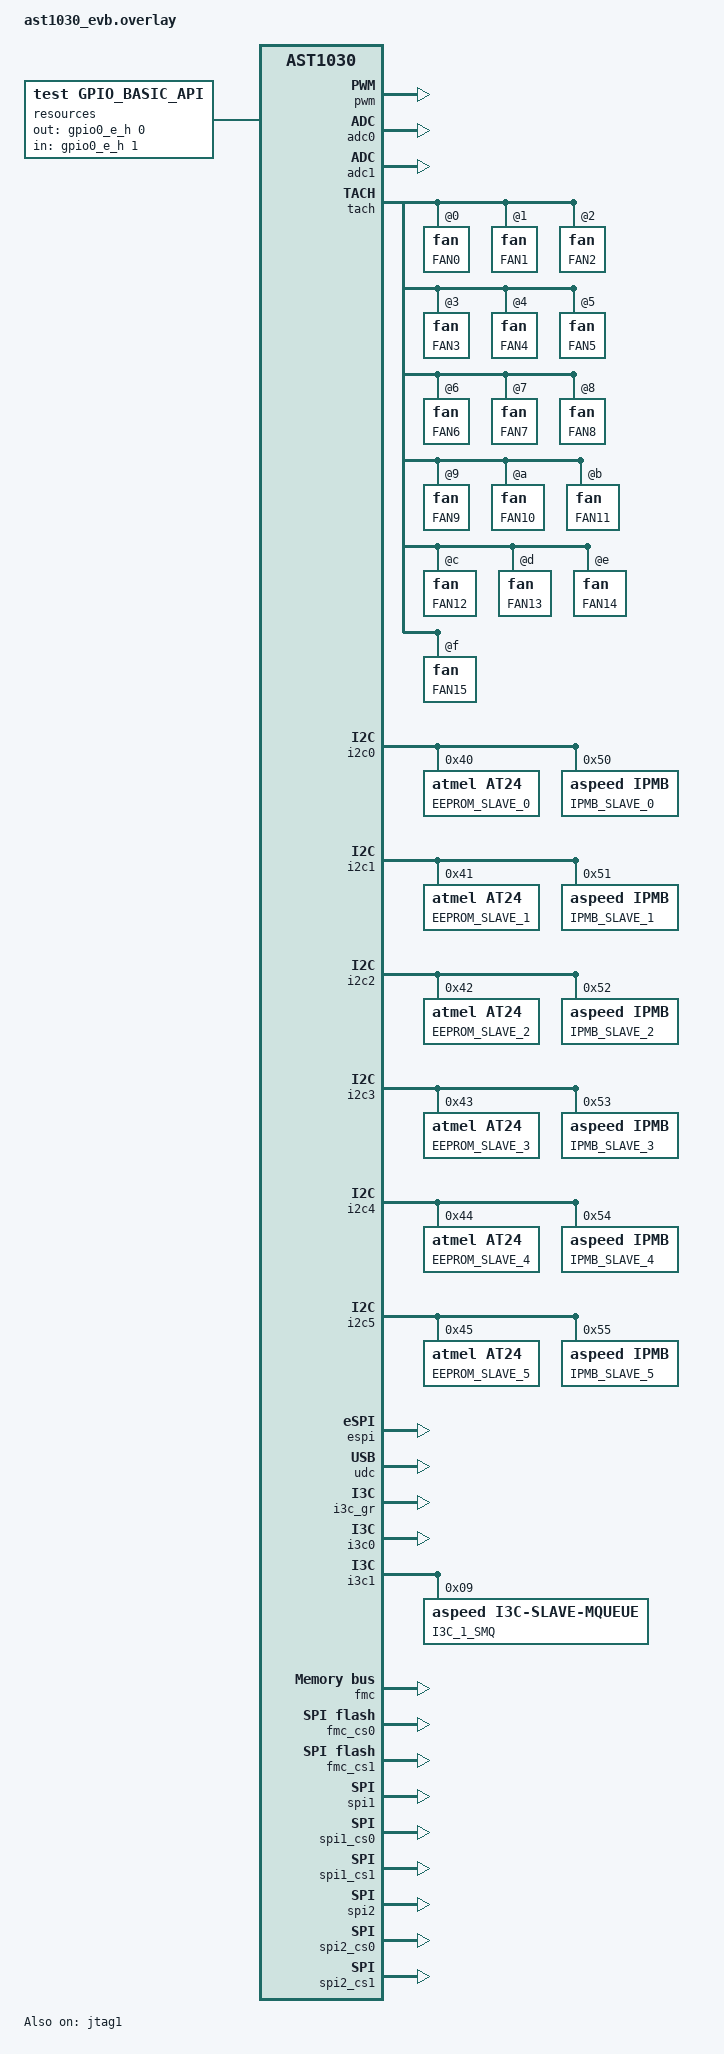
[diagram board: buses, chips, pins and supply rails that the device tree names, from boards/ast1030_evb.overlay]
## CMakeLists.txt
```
# SPDX-License-Identifier: Apache-2.0

cmake_minimum_required(VERSION 3.13.1)
find_package(Zephyr REQUIRED HINTS $ENV{ZEPHYR_BASE})
project(ast1030_evb_test)

FILE(GLOB app_sources src/*.c src/test_gpio/test*.c)
target_sources(app PRIVATE ${app_sources})
```

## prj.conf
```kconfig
CONFIG_GPIO=y
CONFIG_SPI=y
CONFIG_I2C=y
CONFIG_I3C=y
CONFIG_THREAD_RUNTIME_STATS=y
CONFIG_GPIO_SHELL=y
CONFIG_I2C_SLAVE=y
CONFIG_I2C_EEPROM_SLAVE=y
CONFIG_I2C_IPMB_SLAVE=y
CONFIG_HEAP_MEM_POOL_SIZE=65536
CONFIG_PWM=y
CONFIG_ADC=y
CONFIG_JTAG=y
CONFIG_FLASH=y
CONFIG_SPI_NOR_MULTI_DEV=y
CONFIG_SENSOR=y
CONFIG_USB=y
CONFIG_HWINFO=y
CONFIG_ESPI=y
CONFIG_PECI=y
CONFIG_MINIMAL_LIBC_MALLOC_ARENA_SIZE=16384
CONFIG_REBOOT=y
CONFIG_POSIX_CLOCK=y
CONFIG_STACK_SENTINEL=y
CONFIG_LOG=y
CONFIG_LOG_BACKEND_UART=y
CONFIG_SHELL=y
CONFIG_SHELL_BACKEND_SERIAL_INIT_PRIORITY=99
CONFIG_ZTEST=y
CONFIG_THREAD_ANALYZER=y
CONFIG_CRYPTO=y
CONFIG_CRYPTO_ASPEED=y
CONFIG_RSA_ASPEED=y
```

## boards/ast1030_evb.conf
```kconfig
CONFIG_GPIO_ASPEED=y
CONFIG_SPI_ASPEED=y
CONFIG_I2C_ASPEED=y
CONFIG_PWM_ASPEED=y
CONFIG_PWM_ASPEED_ACCURATE_FREQ=y
CONFIG_TEST_RANDOM_GENERATOR=y
CONFIG_ADC_ASPEED=y
CONFIG_JTAG_ASPEED=y
CONFIG_TACH_ASPEED=y
CONFIG_ESPI_ASPEED=y
CONFIG_PECI_ASPEED=y
CONFIG_PECI_ASPEED_INTERRUPT_DRIVEN=y
CONFIG_I3C_ASPEED=y
CONFIG_I3C_SLAVE=y
CONFIG_I3C_SLAVE_MQUEUE=y
CONFIG_USB_ASPEED=y
CONFIG_USB_CDC_ACM=y
CONFIG_USB_DEVICE_VID=0x4153
CONFIG_USB_DEVICE_PID=0x1030
```

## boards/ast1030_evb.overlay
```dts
/ {
	resources {
		compatible = "test,gpio_basic_api";
		out-gpios = <&gpio0_e_h 0 0>;
		in-gpios = <&gpio0_e_h 1 0>;
	};
};

&pwm {
	status = "okay";
	pinctrl-0 = <&pinctrl_pwm0_default &pinctrl_pwm1_default
			&pinctrl_pwm2_default &pinctrl_pwm3_default
			&pinctrl_pwm4_default &pinctrl_pwm5_default
			&pinctrl_pwm6_default &pinctrl_pwm7_default
			&pinctrl_pwm8_default &pinctrl_pwm9_default
			&pinctrl_pwm10_default &pinctrl_pwm11_default
			&pinctrl_pwm12_default &pinctrl_pwm13_default
			&pinctrl_pwm14_default &pinctrl_pwm15_default>;

};

&adc0 {
	status = "okay";
	pinctrl-0 = <&pinctrl_adc0_default &pinctrl_adc1_default
		&pinctrl_adc2_default &pinctrl_adc3_default
		&pinctrl_adc4_default &pinctrl_adc5_default
		&pinctrl_adc6_default &pinctrl_adc7_default>;
};

&adc1 {
	status = "okay";
	pinctrl-0 = <&pinctrl_adc8_default &pinctrl_adc9_default
		&pinctrl_adc10_default &pinctrl_adc11_default
		&pinctrl_adc12_default &pinctrl_adc13_default
		&pinctrl_adc14_default &pinctrl_adc15_default>;
};

&jtag1{
	status = "okay";
};

&tach {
	status = "okay";
	pinctrl-0 = <&pinctrl_tach0_default &pinctrl_tach1_default
			&pinctrl_tach2_default &pinctrl_tach3_default
			&pinctrl_tach4_default &pinctrl_tach5_default
			&pinctrl_tach6_default &pinctrl_tach7_default
			&pinctrl_tach8_default &pinctrl_tach9_default
			&pinctrl_tach10_default &pinctrl_tach11_default
			&pinctrl_tach12_default &pinctrl_tach13_default
			&pinctrl_tach14_default &pinctrl_tach15_default>;
	fan@0 {
		reg = <0>;
		pulse-pr = <1>;
		min-rpm = <1000>;
		tach-div = <2>;
		label = "FAN0";
	};

	fan@1 {
		reg = <1>;
		pulse-pr = <1>;
		min-rpm = <1000>;
		tach-div = <2>;
		label = "FAN1";
	};

	fan@2 {
		reg = <2>;
		pulse-pr = <1>;
		min-rpm = <1000>;
		tach-div = <2>;
		label = "FAN2";
	};

	fan@3 {
		reg = <3>;
		pulse-pr = <1>;
		min-rpm = <1000>;
		tach-div = <2>;
		label = "FAN3";
	};

	fan@4 {
		reg = <4>;
		pulse-pr = <1>;
		min-rpm = <1000>;
		tach-div = <2>;
		label = "FAN4";
	};

	fan@5 {
		reg = <5>;
		pulse-pr = <1>;
		min-rpm = <1000>;
		tach-div = <2>;
		label = "FAN5";
	};

	fan@6 {
		reg = <6>;
		pulse-pr = <1>;
		min-rpm = <1000>;
		tach-div = <2>;
		label = "FAN6";
	};

	fan@7 {
		reg = <7>;
		pulse-pr = <1>;
		min-rpm = <1000>;
		tach-div = <2>;
		label = "FAN7";
	};

	fan@8 {
		reg = <8>;
		pulse-pr = <1>;
		min-rpm = <1000>;
		tach-div = <2>;
		label = "FAN8";
	};

	fan@9 {
		reg = <9>;
		pulse-pr = <1>;
		min-rpm = <1000>;
		tach-div = <2>;
		label = "FAN9";
	};

	fan@a {
		reg = <0xa>;
		pulse-pr = <1>;
		min-rpm = <1000>;
		tach-div = <2>;
		label = "FAN10";
	};

	fan@b {
		reg = <0xb>;
		pulse-pr = <1>;
		min-rpm = <1000>;
		tach-div = <2>;
		label = "FAN11";
	};

	fan@c {
		reg = <0xc>;
		pulse-pr = <1>;
		min-rpm = <1000>;
		tach-div = <2>;
		label = "FAN12";
	};

	fan@d {
		reg = <0xd>;
		pulse-pr = <1>;
		min-rpm = <1000>;
		tach-div = <2>;
		label = "FAN13";
	};

	fan@e {
		reg = <0xe>;
		pulse-pr = <1>;
		min-rpm = <1000>;
		tach-div = <2>;
		label = "FAN14";
	};

	fan@f {
		reg = <0xf>;
		pulse-pr = <2>;
		min-rpm = <700>;
		tach-div = <5>;
		label = "FAN15";
	};
};

&i2c0 {
	status = "okay";
	pinctrl-0 = <&pinctrl_i2c0_default>;

	eeprom0: eeprom0@40 {
		compatible = "atmel,at24";
		reg = <0x40>;
		label = "EEPROM_SLAVE_0";
		size = <256>;
		pagesize = <16>;
		address-width = <8>;
		timeout = <5>;
#ifdef CONFIG_I2C_EEPROM_SLAVE
		status = "okay";
#endif
	};

	ipmb0: ipmb0@50 {
		compatible = "aspeed,ipmb";
		reg = <0x50>;
		label = "IPMB_SLAVE_0";
		size = <5>;
#ifdef CONFIG_I2C_IPMB_SLAVE
		status = "okay";
#endif
	};

};

&i2c1 {
	pinctrl-0 = <&pinctrl_i2c1_default>;
	status = "okay";

	eeprom1: eeprom1@41 {
		compatible = "atmel,at24";
		reg = <0x41>;
		label = "EEPROM_SLAVE_1";
		size = <256>;
		pagesize = <16>;
		address-width = <8>;
		timeout = <5>;
#ifdef CONFIG_I2C_EEPROM_SLAVE
		status = "okay";
#endif
	};

	ipmb1: ipmb1@51 {
		compatible = "aspeed,ipmb";
		reg = <0x51>;
		label = "IPMB_SLAVE_1";
		size = <5>;
#ifdef CONFIG_I2C_IPMB_SLAVE
		status = "okay";
#endif
	};

};

&i2c2 {
	pinctrl-0 = <&pinctrl_i2c2_default>;
	status = "okay";

	eeprom2: eeprom2@42 {
		compatible = "atmel,at24";
		reg = <0x42>;
		label = "EEPROM_SLAVE_2";
		size = <256>;
		pagesize = <16>;
		address-width = <8>;
		timeout = <5>;
#ifdef CONFIG_I2C_EEPROM_SLAVE
		status = "okay";
#endif
	};

	ipmb2: ipmb2@52 {
		compatible = "aspeed,ipmb";
		reg = <0x52>;
		label = "IPMB_SLAVE_2";
		size = <5>;
#ifdef CONFIG_I2C_IPMB_SLAVE
		status = "okay";
#endif
	};

};

&i2c3 {
	pinctrl-0 = <&pinctrl_i2c3_default>;
	status = "okay";

	eeprom3: eeprom3@43 {
		compatible = "atmel,at24";
		reg = <0x43>;
		label = "EEPROM_SLAVE_3";
		size = <256>;
		pagesize = <16>;
		address-width = <8>;
		timeout = <5>;
#ifdef CONFIG_I2C_EEPROM_SLAVE
		status = "okay";
#endif
	};

	ipmb3: ipmb3@53 {
		compatible = "aspeed,ipmb";
		reg = <0x53>;
		label = "IPMB_SLAVE_3";
		size = <5>;
#ifdef CONFIG_I2C_IPMB_SLAVE
		status = "okay";
#endif
	};

};

&i2c4 {
	pinctrl-0 = <&pinctrl_i2c4_default>;
	status = "okay";

	eeprom4: eeprom4@44 {
		compatible = "atmel,at24";
		reg = <0x44>;
		label = "EEPROM_SLAVE_4";
		size = <256>;
		pagesize = <16>;
		address-width = <8>;
		timeout = <5>;
#ifdef CONFIG_I2C_EEPROM_SLAVE
		status = "okay";
#endif
	};

	ipmb4: ipmb4@54 {
		compatible = "aspeed,ipmb";
		reg = <0x54>;
		label = "IPMB_SLAVE_4";
		size = <5>;
#ifdef CONFIG_I2C_IPMB_SLAVE
		status = "okay";
#endif
	};

};

&i2c5 {
	pinctrl-0 = <&pinctrl_i2c5_default>;
	status = "okay";

	eeprom5: eeprom5@45 {
		compatible = "atmel,at24";
		reg = <0x45>;
		label = "EEPROM_SLAVE_5";
		size = <256>;
		pagesize = <16>;
		address-width = <8>;
		timeout = <5>;
#ifdef CONFIG_I2C_EEPROM_SLAVE
		status = "okay";
#endif
	};

	ipmb5: ipmb5@55 {
		compatible = "aspeed,ipmb";
		reg = <0x55>;
		label = "IPMB_SLAVE_5";
		size = <5>;
#ifdef CONFIG_I2C_IPMB_SLAVE
		status = "okay";
#endif
	};

};

&espi {
	status = "okay";
	perif,memcyc-src-addr = <0x98000000>;
	perif,memcyc-size = <0x10000>;
	flash,safs-mode = <0x2>;
};

&udc {
	status = "okay";
};

&i3c_gr {
	status = "okay";
};

&i3c0 {
	status = "okay";
	assigned-address = <0x8>;
};

&i3c1 {
	status = "okay";
	assigned-address = <0x9>;
	secondary;
	i3c1_smq:i3c-slave-mqueue@9 {
		compatible = "aspeed,i3c-slave-mqueue";
		reg = <0x9>;
		msg-size = <256>;
		num-of-msgs = <4>;
		mandatory-data-byte = <0xbf>;
		label = "I3C_1_SMQ";
		status = "okay";
	};
};

&fmc {
	status = "okay";
};

&fmc_cs0 {
	status = "okay";
	spi-max-buswidth = <4>;
	spi-max-frequency = <50000000>;
};

&fmc_cs1 {
	status = "okay";
	spi-max-buswidth = <4>;
	spi-max-frequency = <50000000>;
};

&spi1 {
	status = "okay";
};

&spi1_cs0 {
	status = "okay";
	spi-max-buswidth = <4>;
	spi-max-frequency = <50000000>;
};

&spi1_cs1 {
	status = "okay";
	spi-max-buswidth = <4>;
	spi-max-frequency = <50000000>;
};

&spi2 {
	status = "okay";
};

&spi2_cs0 {
	status = "okay";
	spi-max-buswidth = <4>;
	spi-max-frequency = <50000000>;
};

&spi2_cs1 {
	status = "okay";
	spi-max-buswidth = <4>;
	spi-max-frequency = <50000000>;
};
```

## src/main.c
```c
/*
 * Copyright (c) 2021 Aspeed Technology Inc.
 *
 * SPDX-License-Identifier: Apache-2.0
 */

#include <ztest.h>
#include <debug/thread_analyzer.h>
#include "ast_test.h"

#define LOG_MODULE_NAME aspeed_test

#include <logging/log.h>
LOG_MODULE_REGISTER(LOG_MODULE_NAME);

extern void test_usb(void);
extern void test_adc(void);
extern void test_adc(void);
extern void test_pwm(void);
extern void test_jtag(void);
extern void test_i2c(void);
extern void test_i3c(void);
extern void test_gpio(void);
extern void test_uart(void);
extern void test_spi(void);
extern void test_espi(void);
extern void test_peci(void);
extern void test_crypto(void);
extern int aspeed_ft_pre_init(void);
extern int aspeed_ft_post_init(struct aspeed_tests *testcase, int count);

#define run_test_suite(suite, type) \
	aspeed_run_test_suite(#suite, _##suite, type)

#define TEST_MODULE_CNT		12
#define TEST_STACKSIZE		1024

#define TEST_CI_TIMEOUT		30
#define TEST_SLT_TIMEOUT	20
#define TEST_FT_TIMEOUT		5

#define TEST_CI_FUNC_COUNT	100
#define TEST_SLT_FUNC_COUNT	1
#define TEST_FT_FUNC_COUNT	1

K_THREAD_STACK_ARRAY_DEFINE(test_thread_stack, TEST_MODULE_CNT, TEST_STACKSIZE);

static struct aspeed_test_param test_params[] = {
	{ AST_TEST_CI, "AST_TEST_CI", TEST_CI_FUNC_COUNT, TEST_CI_TIMEOUT },
	{ AST_TEST_SLT, "AST_TEST_SLT", TEST_SLT_FUNC_COUNT, TEST_SLT_TIMEOUT },
	{ AST_TEST_FT, "AST_TEST_FT", TEST_FT_FUNC_COUNT, TEST_FT_TIMEOUT },
};

typedef int (*test_func_t) (int count, enum aspeed_test_type);

static struct aspeed_tests aspeed_testcase[TEST_MODULE_CNT];
static struct k_thread ztest_thread[TEST_MODULE_CNT];
static int unit_test_count;
static int unit_test_remain;

static void aspeed_pre_init(void)
{
#if CONFIG_BOARD_AST1030_FT
	aspeed_ft_pre_init();
#endif
}

static void aspeed_post_init(void)
{
#if CONFIG_BOARD_AST1030_FT
	aspeed_ft_post_init(aspeed_testcase, TEST_MODULE_CNT);
#endif
}

static void aspeed_test_cb(void *a, void *b, void *c)
{
	int num = (int)a;
	int count = (int)b;
	enum aspeed_test_type type = (enum aspeed_test_type)c;
	int ret = TC_FAIL;

	TC_START(aspeed_testcase[num].name);

	LOG_DBG("Current thread id: %d", (int)k_current_get());
	ret = aspeed_testcase[num].test(count, type);
	aspeed_testcase[num].results = ret;

	unit_test_remain--;
	Z_TC_END_RESULT(ret, aspeed_testcase[num].name);
}

static int aspeed_create_test(struct unit_test *test, int thread_num,
			      int count, enum aspeed_test_type type)
{
	int ret = TC_PASS;
	k_tid_t pid;

	if (IS_ENABLED(CONFIG_MULTITHREADING)) {
		pid = k_thread_create(&ztest_thread[thread_num],
				      test_thread_stack[thread_num],
				      TEST_STACKSIZE,
				      (k_thread_entry_t) aspeed_test_cb,
				      (void *)thread_num,
				      (void *)count, (void *)type,
				      CONFIG_ZTEST_THREAD_PRIORITY,
				      test->thread_options | K_INHERIT_PERMS,
				      K_FOREVER);

		if (test->name != NULL) {
			k_thread_name_set(&ztest_thread[thread_num],
					  test->name);
		}

	} else {
		LOG_ERR("multithreading is not supported");
		ret = TC_FAIL;
	}

	aspeed_testcase[thread_num].name = test->name;
	aspeed_testcase[thread_num].test = (test_func_t) test->test;
	aspeed_testcase[thread_num].results = -1;

	LOG_INF("Create thread %s\t to num %d, pid: %d",
			test->name, thread_num, (int)pid);

	return ret;
}

static void aspeed_run_test(void)
{
	int i;

	for (i = 0; i < unit_test_count; i++) {
		k_thread_start(&ztest_thread[i]);
	}
}

static void aspeed_show_banner(bool is_passed)
{
	if (is_passed) {
		LOG_ERR("\x1b[;32;1m\n"
				"########     ###     ######   ######  ######## ########\n"
				"##     ##   ## ##   ##    ## ##    ## ##       ##     ##\n"
				"##     ##  ##   ##  ##       ##       ##       ##     ##\n"
				"########  ##     ##  ######   ######  ######   ##     ##\n"
				"##        #########       ##       ## ##       ##     ##\n"
				"##        ##     ## ##    ## ##    ## ##       ##     ##\n"
				"##        ##     ##  ######   ######  ######## ########\n"
				"\x1b[0;m\n"
		      );
	} else {
		LOG_ERR("\x1b[;31;1m\n"
				"########    ###    #### ##       ######## ########\n"
				"##         ## ##    ##  ##       ##       ##     ##\n"
				"##        ##   ##   ##  ##       ##       ##     ##\n"
				"######   ##     ##  ##  ##       ######   ##     ##\n"
				"##       #########  ##  ##       ##       ##     ##\n"
				"##       ##     ##  ##  ##       ##       ##     ##\n"
				"##       ##     ## #### ######## ######## ########\n"
				"\x1b[0;m\n"
		      );
	}
}

static void aspeed_terminate_test(int type)
{
	bool is_passed = true;
	int i;

	LOG_INF("\nTest Counter: %d. Test Type: %s.",
		test_params[type].test_count,
		test_params[type].name);

	for (i = 0; i < unit_test_count; i++) {
		k_thread_abort(&ztest_thread[i]);
		if (aspeed_testcase[i].results)
			is_passed = false;

		LOG_INF("Case %d - %s results: %s", i + 1,
			aspeed_testcase[i].name,
			aspeed_testcase[i].results ? "FAILED" : "PASSED");
	}

	aspeed_show_banner(is_passed);
	zassert_equal(is_passed, true, "%s FAILED");
}

static void aspeed_run_test_suite(const char *name, struct unit_test *suite,
				  int type)
{
	int timer = 0;
	int fail = 0;

	aspeed_pre_init();

	while (suite->test) {
		fail += aspeed_create_test(suite, unit_test_count++,
				    test_params[type].test_count, type);
		suite++;
		if (unit_test_count >= TEST_MODULE_CNT) {
			LOG_ERR("unit test numbers are limited to %d\n",
					unit_test_count);
			break;
		}
	}

	if (fail)
		goto end;

	unit_test_remain = unit_test_count;
	thread_analyzer_print();

	aspeed_run_test();

	while (unit_test_remain && (timer < test_params[type].timeout)) {
		timer++;
		k_sleep(K_SECONDS(1));
	}

	if (unit_test_remain) {
		LOG_ERR("TIMEOUT ! Total test case: %d, remaining: %d",
			unit_test_count, unit_test_remain);
		fail++;
	}

end:
	aspeed_post_init();
	aspeed_terminate_test(type);
	zassert_equal(fail, 0, "test ast1030 failed");
}

static void aspeed_test_platform(void)
{
	ztest_test_suite(test_ast1030,
			 ztest_unit_test(test_usb),
			 ztest_unit_test(test_adc),
			 ztest_unit_test(test_pwm),
			 ztest_unit_test(test_jtag),
			 ztest_unit_test(test_i2c),
			 ztest_unit_test(test_i3c),
			 ztest_unit_test(test_gpio),
			 ztest_unit_test(test_uart),
			 ztest_unit_test(test_spi),
			 ztest_unit_test(test_espi),
			 ztest_unit_test(test_peci),
			 ztest_unit_test(test_crypto)
			 );

#ifdef CONFIG_BOARD_AST1030_EVB
	run_test_suite(test_ast1030, AST_TEST_CI);
#elif CONFIG_BOARD_AST1030_SLT
	run_test_suite(test_ast1030, AST_TEST_SLT);
#elif CONFIG_BOARD_AST1030_FT
	run_test_suite(test_ast1030, AST_TEST_FT);
#endif
}

/* test case main entry */
void test_main(void)
{
	ztest_test_suite(platform_test,
			 ztest_unit_test(aspeed_test_platform));

	ztest_run_test_suite(platform_test);
}
```

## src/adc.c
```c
/*
 * Copyright (c) 2021 Aspeed Technology Inc.
 *
 * SPDX-License-Identifier: Apache-2.0
 */
#include <ztest.h>
#include <tc_util.h>
#include <drivers/adc.h>
#include "ast_test.h"

#define LOG_MODULE_NAME adc_test

#include <logging/log.h>
LOG_MODULE_REGISTER(LOG_MODULE_NAME);

#if DT_HAS_COMPAT_STATUS_OKAY(aspeed_adc)
#define ASPEED_ADC_CH_NUMBER 8
#define DT_DRV_COMPAT aspeed_adc
#else
#error No known devicetree compatible match for ADC test
#endif

#define NODE_LABELS(n) DT_INST_LABEL(n),
#define ADC_HDL_LIST_ENTRY(label)      \
	{			       \
		.device_label = label, \
	}
#define INIT_MACRO() DT_INST_FOREACH_STATUS_OKAY(NODE_LABELS) "NA"
static struct adc_hdl {
	char *device_label;
	struct adc_channel_cfg channel_config[ASPEED_ADC_CH_NUMBER];
} adc_list[] = {
	FOR_EACH(ADC_HDL_LIST_ENTRY, (,), INIT_MACRO())
};

#define ERROR_RATE(percentage) (100 / percentage)
#define TOLERANCE_ERROR_RATE ERROR_RATE(2)

void test_adc_normal_mode(const uint16_t *golden_value, float tolerance)
{
	int i, j;
	int retval;
	uint16_t m_sample_buffer[ASPEED_ADC_CH_NUMBER];
	int32_t val;
	const struct device *adc_dev;
	const struct adc_sequence sequence = {
		.channels = GENMASK(6, 0),
		.buffer = m_sample_buffer,
		.buffer_size = sizeof(m_sample_buffer),
		.resolution = 10,
		.calibrate = 1,
	};

	for (i = 0; i < ARRAY_SIZE(adc_list) - 1; i++) {
		adc_dev = device_get_binding(adc_list[i].device_label);
		for (j = 0; j < ASPEED_ADC_CH_NUMBER; j++) {
			adc_list[i].channel_config[j].channel_id = j;
			adc_list[i].channel_config[j].reference = ADC_REF_INTERNAL;
			adc_list[i].channel_config[j].gain = ADC_GAIN_1;
			adc_list[i].channel_config[j].acquisition_time = ADC_ACQ_TIME_DEFAULT;
			adc_channel_setup(adc_dev, &adc_list[i].channel_config[j]);
		}
		retval = adc_read(adc_dev, &sequence);
		if (retval >= 0) {
			for (j = 0; j < 7; j++) {
				val = m_sample_buffer[j];
				adc_raw_to_millivolts(adc_get_ref(adc_dev),
						      adc_list[i].channel_config[j].gain,
						      10,
						      &val);
				LOG_DBG("%s:[%d] %dmv(raw:%d)", adc_list[i].device_label, j, val,
					m_sample_buffer[j]);
				ast_zassert_within(val, golden_value[i * ASPEED_ADC_CH_NUMBER + j],
						   adc_get_ref(adc_dev) * tolerance,
						   "%s:[%d] %dmv(raw:%d) check %d+-%f failed!!",
						   adc_list[i].device_label, j, val,
						   m_sample_buffer[j],
						   golden_value[i * ASPEED_ADC_CH_NUMBER + j],
						   adc_get_ref(adc_dev) * tolerance);
			}
		}
	}
}

void test_adc_battery_mode(const uint16_t *golden_value, float tolerance)
{
	int i;
	int retval;
	uint16_t m_sample_buffer[1];
	int32_t val;
	const struct device *adc_dev;
	const struct adc_sequence sequence = {
		.channels = BIT(7),
		.buffer = m_sample_buffer,
		.buffer_size = sizeof(m_sample_buffer),
		.resolution = 10,
		.calibrate = 1,
	};

	for (i = 0; i < ARRAY_SIZE(adc_list) - 1; i++) {
		adc_dev = device_get_binding(adc_list[i].device_label);
		adc_list[i].channel_config[7].channel_id = 7;
		adc_list[i].channel_config[7].reference = ADC_REF_INTERNAL;
		adc_list[i].channel_config[7].gain =
			(adc_get_ref(adc_dev) < 1550) ? ADC_GAIN_1_3 : ADC_GAIN_2_3;
		adc_list[i].channel_config[7].acquisition_time = ADC_ACQ_TIME_DEFAULT;
		adc_channel_setup(adc_dev, &adc_list[i].channel_config[7]);
		retval = adc_read(adc_dev, &sequence);
		if (retval >= 0) {
			val = m_sample_buffer[0];
			adc_raw_to_millivolts(adc_get_ref(adc_dev),
					      adc_list[i].channel_config[7].gain, 10, &val);
			LOG_DBG("%s:[%d] %dmv(raw:%d)", adc_list[i].device_label, 7, val,
				m_sample_buffer[0]);
			ast_zassert_within(val, golden_value[i * ASPEED_ADC_CH_NUMBER + 7],
					   adc_get_ref(adc_dev) * tolerance,
					   "%s:[%d] %dmv(raw:%d) check %d+-%f failed!!",
					   adc_list[i].device_label, 7, val, m_sample_buffer[0],
					   golden_value[i * ASPEED_ADC_CH_NUMBER + 7],
					   adc_get_ref(adc_dev) * tolerance);
		}
	}
}

static const uint16_t ci_golden_value[16] = {
	620, 1202, 1800, 620, 1145, 1873, 1126, 3000,
	620, 1202, 1800, 620, 1145, 1873, 1126, 3000,
};

static const uint16_t ft_golden_value[16] = {
	600, 1650, 2000, 1000, 600, 1650, 2000, 1000,
	600, 1650, 2000, 1000, 600, 1650, 2000, 1000,
};

int test_adc(int count, enum aspeed_test_type type)
{
	int times;
	const uint16_t *gv;
	float tolerance;

	switch (type) {
	case AST_TEST_CI:
		gv = ci_golden_value;
		tolerance = 0.02;
		break;
	case AST_TEST_SLT:
	case AST_TEST_FT:
		gv = ft_golden_value;
		tolerance = 0.03;
		break;
	default:
		return -EINVAL;
	};

	printk("%s, count: %d, type: %d\n", __func__, count, type);
	for (times = 0; times < count; times++) {
		test_adc_normal_mode(gv, tolerance);
		test_adc_battery_mode(gv, tolerance);
	}

	return ast_ztest_result();
}
```

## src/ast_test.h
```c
/*
 * Copyright (c) 2021 Aspeedtech Inc.
 *
 * SPDX-License-Identifier: Apache-2.0
 */

#ifndef ASPEED_TESTSUITE_ZTEST_H_
#define ASPEED_TESTSUITE_ZTEST_H_

#include <ztest.h>
#include <stdarg.h>
#include <stdio.h>
#include <string.h>
#include <stdbool.h>

#define AST_TEST_PASS	0
#define AST_TEST_FAIL	-1

enum aspeed_test_type {
	AST_TEST_CI = 0,
	AST_TEST_SLT,
	AST_TEST_FT,
};

struct aspeed_test_param {
	enum aspeed_test_type type;
	const char *name;
	int test_count;
	int timeout;
};

struct aspeed_tests {
	const char *name;
	int (*test)(int count, enum aspeed_test_type);
	int results;
};

static bool ast_test_fail;

const char *ztest_relative_filename(const char *file);

static inline bool aspeed_zassert(bool cond,
			    const char *default_msg,
			    const char *file,
			    int line, const char *func,
			    const char *msg, ...)
{
	if (cond == false) {
		va_list vargs;

		va_start(vargs, msg);
		PRINT("\n    Assertion failed at %s:%d: %s: %s\n",
		      ztest_relative_filename(file), line, func, default_msg);
		vprintk(msg, vargs);
		printk("\n");
		va_end(vargs);
		ast_test_fail = true;
		return false;
	}

	return true;
}

static inline int ast_test_result(void)
{
	return ast_test_fail ? AST_TEST_FAIL : AST_TEST_PASS;
}

#define ast_ztest_result()	ast_test_result()

/**
 * @defgroup ztest_assert Ztest assertion macros
 * @ingroup ztest
 *
 * This module provides assertions when using Ztest.
 *
 * @{
 */

/**
 * @brief Fail the test, if @a cond is false
 *
 * You probably don't need to call this macro directly. You should
 * instead use zassert_{condition} macros below.
 *
 * Note that when CONFIG_MULTITHREADING=n macro returns from the function. It is
 * then expected that in that case ztest asserts will be used only in the
 * context of the test function.
 *
 * @param cond Condition to check
 * @param msg Optional, can be NULL. Message to print if @a cond is false.
 * @param default_msg Message to print if @a cond is false
 */
#define ast_zassert(cond, default_msg, msg, ...) \
	aspeed_zassert(cond, msg ? ("(" default_msg ")") : (default_msg), \
			     __FILE__, __LINE__, __func__, \
			     msg ? msg : "", ##__VA_ARGS__);

/**
 * @brief Assert that this function call won't be reached
 * @param msg Optional message to print if the assertion fails
 */
#define ast_zassert_unreachable(msg, ...) ast_zassert(0, "Reached unreachable code", \
					      msg, ##__VA_ARGS__)

/**
 * @brief Assert that @a cond is true
 * @param cond Condition to check
 * @param msg Optional message to print if the assertion fails
 */
#define ast_zassert_true(cond, msg, ...) ast_zassert(cond, #cond " is false", \
					     msg, ##__VA_ARGS__)

/**
 * @brief Assert that @a cond is false
 * @param cond Condition to check
 * @param msg Optional message to print if the assertion fails
 */
#define ast_zassert_false(cond, msg, ...) ast_zassert(!(cond), #cond " is true", \
					      msg, ##__VA_ARGS__)

/**
 * @brief Assert that @a cond is 0 (success)
 * @param cond Condition to check
 * @param msg Optional message to print if the assertion fails
 */
#define ast_zassert_ok(cond, msg, ...) ast_zassert(!(cond), #cond " is non-zero", \
					      msg, ##__VA_ARGS__)

/**
 * @brief Assert that @a ptr is NULL
 * @param ptr Pointer to compare
 * @param msg Optional message to print if the assertion fails
 */
#define ast_zassert_is_null(ptr, msg, ...) ast_zassert((ptr) == NULL,	    \
					       #ptr " is not NULL", \
					       msg, ##__VA_ARGS__)

/**
 * @brief Assert that @a ptr is not NULL
 * @param ptr Pointer to compare
 * @param msg Optional message to print if the assertion fails
 */
#define ast_zassert_not_null(ptr, msg, ...) ast_zassert((ptr) != NULL,	      \
						#ptr " is NULL", msg, \
						##__VA_ARGS__)

/**
 * @brief Assert that @a a equals @a b
 *
 * @a a and @a b won't be converted and will be compared directly.
 *
 * @param a Value to compare
 * @param b Value to compare
 * @param msg Optional message to print if the assertion fails
 */
#define ast_zassert_equal(a, b, msg, ...) ast_zassert((a) == (b),	      \
					      #a " not equal to " #b, \
					      msg, ##__VA_ARGS__)

/**
 * @brief Assert that @a a does not equal @a b
 *
 * @a a and @a b won't be converted and will be compared directly.
 *
 * @param a Value to compare
 * @param b Value to compare
 * @param msg Optional message to print if the assertion fails
 */
#define ast_zassert_not_equal(a, b, msg, ...) ast_zassert((a) != (b),	      \
						  #a " equal to " #b, \
						  msg, ##__VA_ARGS__)

/**
 * @brief Assert that @a a equals @a b
 *
 * @a a and @a b will be converted to `void *` before comparing.
 *
 * @param a Value to compare
 * @param b Value to compare
 * @param msg Optional message to print if the assertion fails
 */
#define ast_zassert_equal_ptr(a, b, msg, ...)			    \
	ast_zassert((void *)(a) == (void *)(b), #a " not equal to " #b, \
		msg, ##__VA_ARGS__)

/**
 * @brief Assert that @a a is within @a b with delta @a d
 *
 * @param a Value to compare
 * @param b Value to compare
 * @param d Delta
 * @param msg Optional message to print if the assertion fails
 */
#define ast_zassert_within(a, b, d, msg, ...)			     \
	ast_zassert(((a) >= ((b) - (d))) && ((a) <= ((b) + (d))),	     \
		#a " not within " #b " +/- " #d,		     \
		msg, ##__VA_ARGS__)

/**
 * @brief Assert that 2 memory buffers have the same contents
 *
 * This macro calls the final memory comparison assertion macro.
 * Using double expansion allows providing some arguments by macros that
 * would expand to more than one values (ANSI-C99 defines that all the macro
 * arguments have to be expanded before macro call).
 *
 * @param ... Arguments, see @ref zassert_mem_equal__
 *            for real arguments accepted.
 */
#define ast_zassert_mem_equal(...) \
	ast_zassert_mem_equal__(__VA_ARGS__)

/**
 * @brief Internal assert that 2 memory buffers have the same contents
 *
 * @note This is internal macro, to be used as a second expansion.
 *       See @ref zassert_mem_equal.
 *
 * @param buf Buffer to compare
 * @param exp Buffer with expected contents
 * @param size Size of buffers
 * @param msg Optional message to print if the assertion fails
 */
#define ast_zassert_mem_equal__(buf, exp, size, msg, ...)                    \
	ast_zassert(memcmp(buf, exp, size) == 0, #buf " not equal to " #exp, \
	msg, ##__VA_ARGS__)

#endif /* ZEPHYR_TESTSUITE_ZTEST_ASSERT_H_ */
```

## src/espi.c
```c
/*
 * Copyright (c) 2021 Aspeed Technology Inc.
 *
 * SPDX-License-Identifier: Apache-2.0
 */

#include <tc_util.h>
#include "ast_test.h"

static uint32_t espi_base;

int test_espi_ci(void)
{
	return 0;
}

int test_espi_ft(void)
{
	uint32_t reg;

	reg = sys_read32(espi_base + 0x80) | BIT(29);
	sys_write32(reg, espi_base + 0x80);

	return 0;
}

int test_espi_slt(void)
{
	return 0;
}

int test_espi(int count, enum aspeed_test_type type)
{
	int i, rc;
	int (*test_espi_func)(void);

	printk("%s, count: %d, type: %d\n", __func__, count, type);

	espi_base = DT_REG_ADDR(DT_NODELABEL(espi));
	if (!espi_base)
		return -ENODEV;

	switch (type) {
	case AST_TEST_CI:
		test_espi_func = test_espi_ci;
		break;
	case AST_TEST_SLT:
		test_espi_func = test_espi_slt;
		break;
	case AST_TEST_FT:
		test_espi_func = test_espi_ft;
		break;
	default:
		return -EINVAL;
	};

	for (i = 0; i < count; ++i) {
		rc = test_espi_func();
		if (rc)
			break;
	}

	return rc;
}
```

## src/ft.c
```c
/*
 * Copyright (c) 2021 Aspeed Technology Inc.
 *
 * SPDX-License-Identifier: Apache-2.0
 */

#include "ast_test.h"

void aspeed_ft_pre_init(void)
{
	printk("%s\n\n", __func__);
}

void aspeed_ft_post_init(struct aspeed_tests *aspeed_testcase, int count)
{
	int i;

	printk("%s\n\n", __func__);
	printk("test module count: %d\n", count);

	for (i = 0; i < count; i++) {
		printk("module %d results: %s\n", i,
			aspeed_testcase[i].results ? "FAILED" : "PASS");
	}
}
```

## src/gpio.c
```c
/*
 * Copyright (c) 2021 Aspeed Technology Inc.
 *
 * SPDX-License-Identifier: Apache-2.0
 */

#include <tc_util.h>
#include "ast_test.h"
#include "test_gpio/test_gpio.h"

int test_gpio(int count, enum aspeed_test_type type)
{
	if (type != AST_TEST_CI)
		return AST_TEST_PASS;

	ast_test_fail |= test_gpio_port();
	ast_test_fail |= test_gpio_callback_add_remove();
	ast_test_fail |= test_gpio_callback_self_remove();
	ast_test_fail |= test_gpio_callback_enable_disable();
	ast_test_fail |= test_gpio_callback_variants();

	return ast_ztest_result();
}
```

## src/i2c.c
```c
/*
 * Copyright (c) 2021 Aspeed Technology Inc.
 *
 * SPDX-License-Identifier: Apache-2.0
 */

#include <ztest.h>
#include <tc_util.h>
#include <drivers/i2c.h>
#include <drivers/i2c/slave/eeprom.h>
#include <drivers/i2c/slave/ipmb.h>
#include "ast_test.h"
#include <random/rand32.h>

#define LOG_MODULE_NAME i2c_test

#include <logging/log.h>
LOG_MODULE_REGISTER(LOG_MODULE_NAME);

#if DT_HAS_COMPAT_STATUS_OKAY(aspeed_i2c)
#define ASPEED_I2C_NUMBER 6
#define DT_DRV_COMPAT aspeed_i2c
#define DATA_COUNT 0x20
#define EEPROM_ADDR 0x40
#define IPMB_ADDR 0x50
#define RANDOM
#else
#error No known devicetree compatible match for I2C test
#endif

#define I2CMDRV "I2C_"
#define IPMBDRV "IPMB_SLAVE_"
#define EEPROMDRV "EEPROM_SLAVE_"

uint8_t i2c_speed[] = {I2C_SPEED_STANDARD,
					I2C_SPEED_FAST,
					I2C_SPEED_FAST_PLUS};

static void prepare_test_data(uint8_t *data, int nbytes)
{
	uint32_t value = sys_rand32_get();

#ifdef RANDOM
	uint32_t shift;

	for (int i = 0; i < nbytes; i++) {
		shift = (i & 0x3) * 8;
		data[i] = (value >> shift) & 0xff;
		if ((i & 0x3) == 0x3) {
			value = sys_rand32_get();
		}
	}
#else
	for (int i = 0; i < nbytes; i++) {
		data[i] = (value & 0xff) + i;
	}
#endif
}

void test_i2c_slave_EEPROM(void)
{
	int i, j, result;
	char name_m[20], name_s[20], num[10];
	uint8_t data_s[DATA_COUNT];
	uint8_t data_r[DATA_COUNT];
	const struct device *master_dev;
	const struct device *slave_dev;
	uint32_t dev_config_raw;
	uint32_t i2c_clock = I2C_SPEED_FAST;
	uint8_t dev_addr;

	/* change odd device as EEPROM slave device */
	for (i = 0; i < ASPEED_I2C_NUMBER ; i += 2) {
		dev_addr = EEPROM_ADDR + (i + 1);

		strcpy(name_m, I2CMDRV);
		sprintf(num, "%d", i);
		strcat(name_m, num);

		strcpy(name_s, EEPROMDRV);
		sprintf(num, "%d", (i+1));
		strcat(name_s, num);

		printk("I2C M : %d - EE S : %d\n", i, (i+1));

		/* obtain i2c master device */
		master_dev = device_get_binding(name_m);
		ast_zassert_not_null(master_dev, "I2C: %s Master device is got failed",
		name_m);

		/* change i2c speed */
		i2c_clock = i2c_speed[i%3];
		dev_config_raw = I2C_MODE_MASTER |
		I2C_SPEED_SET(i2c_clock);
		i2c_configure(master_dev, dev_config_raw);

		/* obtain i2c slave device */
		slave_dev = device_get_binding(name_s);
		ast_zassert_not_null(slave_dev, "I2C: %s Slave device is got failed",
		name_s);

		/* register i2c slave device */
		ast_zassert_false(i2c_slave_driver_register(slave_dev),
		"I2C: %s Slave register is got failed", name_s);

		/* fill transfer data */
		prepare_test_data(data_s, DATA_COUNT);

		/* burst transfer data */
		result = i2c_burst_write(master_dev, dev_addr, 0, data_s, DATA_COUNT);
		ast_zassert_false(result,
		"I2C: %s EEPROM write is got failed %d", name_m, result);

		/* burst receive data */
		result = i2c_burst_read(master_dev, dev_addr, 0, data_r, DATA_COUNT);
		ast_zassert_false(result,
		"I2C: %s EEPROM read is got failed %d", name_m, result);

		/* check data */
		for (j = 0; j < DATA_COUNT; j++) {
			ast_zassert_equal(data_s[j], data_r[j],
			"I2C: %s EEPROM R/W is got failed at %d, s: %d-r: %d",
			name_m, j, data_s[j], data_r[j]);
		}

		/* un-register i2c slave device */
		ast_zassert_false(i2c_slave_driver_unregister(slave_dev),
		"I2C: %s Slave un-register is got failed", name_s);

	}
}

void test_i2c_slave_IPMB(void)
{
	int i, j, result;
	char name_m[20], name_s[20], num[10];
	uint8_t data_s[DATA_COUNT];
	const struct device *master_dev;
	const struct device *slave_dev;
	uint32_t dev_config_raw;
	uint32_t i2c_clock = I2C_SPEED_FAST;
	uint8_t dev_addr;
	struct ipmb_msg *msg = NULL;
	uint8_t length = 0;
	uint8_t *buf = NULL;

	/* change even device as IPMB slave device */
	for (i = 0; i < ASPEED_I2C_NUMBER ; i += 2) {
		dev_addr = IPMB_ADDR + i;

		printk("I2C M : %d - IPMB S : %d:\n", (i+1), i);

		strcpy(name_m, I2CMDRV);
		sprintf(num, "%d", (i+1));
		strcat(name_m, num);

		strcpy(name_s, IPMBDRV);
		sprintf(num, "%d", i);
		strcat(name_s, num);

		/* obtain i2c master device */
		master_dev = device_get_binding(name_m);
		ast_zassert_not_null(master_dev, "I2C: %s Master device is got failed",
		name_m);

		/* change i2c speed */
		i2c_clock = i2c_speed[i%3];
		dev_config_raw = I2C_MODE_MASTER |
		I2C_SPEED_SET(i2c_clock);
		i2c_configure(master_dev, dev_config_raw);

		/* obtain i2c slave device */
		slave_dev = device_get_binding(name_s);
		ast_zassert_not_null(slave_dev, "I2C: %s Slave device is got failed",
		name_s);

		/* register i2c slave device */
		ast_zassert_false(i2c_slave_driver_register(slave_dev),
		"I2C: %s Slave register is got failed", name_s);

		/* fill transfer data */
		prepare_test_data(data_s, DATA_COUNT);

		/* burst transfer data */
		result = i2c_burst_write(master_dev, dev_addr, 0, data_s, DATA_COUNT);
		ast_zassert_false(result,
		"I2C: %s IPMB write is got failed %d", name_m, result);

		result = ipmb_slave_read(slave_dev, &msg, &length);
		ast_zassert_false(result,
		"I2C: %s IPMB read is got failed %d", name_s, result);

		if (!result) {
			/* check length */
			ast_zassert_equal(length, DATA_COUNT+2,
			"I2C: %s IPMB length is wrong %d ", name_m, length);

			buf = (uint8_t *)(msg);

			/* check length */
			ast_zassert_equal(buf[0], dev_addr << 1,
			"I2C: %s IPMB device id is wrong %d ", name_m, buf[0]);

			/* check message value */
			for (j = 2; j < length; j++) {
				ast_zassert_equal(data_s[j-2], buf[j],
				"I2C: %s IPMB R/W is got failed at %d, s: %d-r: %d",
				name_m, j, data_s[j-2], buf[j]);
			}
		}

		/* un-register i2c slave device */
		ast_zassert_false(i2c_slave_driver_unregister(slave_dev),
		"I2C: %s Slave un-register is got failed", name_s);

	}
}

int test_i2c(int count, enum aspeed_test_type type)
{
	printk("%s, count: %d, type: %d\n", __func__, count, type);

	for (int i = 0; i < count; i++) {
		printk("I2C slave EEPROM\n");
		test_i2c_slave_EEPROM();

		printk("I2C slave IPMB\n");
		test_i2c_slave_IPMB();
	}
	return ast_ztest_result();
}
```

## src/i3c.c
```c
/*
 * Copyright (c) 2021 Aspeed Technology Inc.
 *
 * SPDX-License-Identifier: Apache-2.0
 */

#include <tc_util.h>
#include <kernel.h>
#include <device.h>
#include <drivers/i3c/i3c.h>
#include <random/rand32.h>
#include <soc.h>
#include "ast_test.h"

#define LOG_MODULE_NAME i3c_test

#include <logging/log.h>
LOG_MODULE_REGISTER(LOG_MODULE_NAME);


#define TEST_PRIV_XFER_SIZE	128
#define TEST_IBI_PAYLOAD_SIZE	128
#define MAX_DATA_SIZE		256

/* external reference */
int i3c_slave_mqueue_read(const struct device *dev, uint8_t *dest, int budget);
int i3c_slave_mqueue_write(const struct device *dev, uint8_t *src, int size);

#define TEST_I3C_SLAVE_THREAD_STACK_SIZE	512
#define TEST_I3C_SLAVE_THREAD_PRIO		CONFIG_ZTEST_THREAD_PRIORITY

K_THREAD_STACK_DEFINE(test_i3c_slave_thread_stack_area, TEST_I3C_SLAVE_THREAD_STACK_SIZE);
static struct k_thread test_i3c_slave_thread;

static uint8_t test_data_tx[MAX_DATA_SIZE];
static uint8_t test_data_rx[MAX_DATA_SIZE];
static struct i3c_ibi_payload i3c_payload;
static struct k_sem ibi_complete;
static struct k_sem data_ready;
static struct i3c_ibi_payload *test_ibi_write_requested(struct i3c_dev_desc *desc)
{
	i3c_payload.buf = test_data_rx;
	i3c_payload.size = 0;

	return &i3c_payload;
}

static void test_ibi_write_done(struct i3c_dev_desc *desc)
{
	k_sem_give(&ibi_complete);
}

static struct i3c_ibi_callbacks i3c_ibi_def_callbacks = {
	.write_requested = test_ibi_write_requested,
	.write_done = test_ibi_write_done,
};

static void prepare_test_data(uint8_t *data, int nbytes)
{
	uint32_t value;
	int i, shift;

	value = sys_rand32_get();
	for (i = 0; i < nbytes; i++) {
		shift = (i & 0x3) * 8;
		data[i] = (value >> shift) & 0xff;
		if ((i & 0x3) == 0x3) {
			value = sys_rand32_get();
		}
	}
}

static void test_i3c_slave_task(void *arg1, void *arg2, void *arg3)
{
	const struct device *slave_mq = (const struct device *)arg1;
	int ret;

	for (;;) {
		/* Test part 1: read and compare the data */
		while (i3c_slave_mqueue_read(slave_mq, (uint8_t *)test_data_rx,
					     TEST_PRIV_XFER_SIZE) == 0) {
			k_sleep(K_USEC(1));
		}
		ast_zassert_mem_equal(test_data_tx, test_data_rx, TEST_PRIV_XFER_SIZE,
				      "i3c private write test fail: data mismatch");

		/* Test part 2: send IBI to notify the master device to get the pending data */
		prepare_test_data(test_data_tx, TEST_IBI_PAYLOAD_SIZE);
		ret = i3c_slave_mqueue_write(slave_mq, test_data_tx, TEST_IBI_PAYLOAD_SIZE);
		k_sem_give(&data_ready);
		ast_zassert_equal(ret, 0, "failed to do slave mqueue write");
	}
}

static void test_i3c_ci(int count)
{
	const struct device *master, *slave_mq;
	struct i3c_dev_desc slave;
	struct i3c_priv_xfer xfer;
	int ret, i;

	master = device_get_binding(DT_LABEL(DT_NODELABEL(i3c0)));
	ast_zassert_not_null(master, "failed to get master device");

	slave_mq = device_get_binding(DT_LABEL(DT_NODELABEL(i3c1_smq)));
	ast_zassert_not_null(slave_mq, "failed to get slave mqueue device");

	k_sem_init(&ibi_complete, 0, 1);
	k_sem_init(&data_ready, 0, 1);

	/* create slave thread to service the slave actions */
	k_thread_create(&test_i3c_slave_thread,
			test_i3c_slave_thread_stack_area, TEST_I3C_SLAVE_THREAD_STACK_SIZE,
			test_i3c_slave_task, (void *)slave_mq, NULL, NULL,
			TEST_I3C_SLAVE_THREAD_PRIO, 0, K_NO_WAIT);

	slave.info.static_addr = DT_PROP(DT_BUS(DT_NODELABEL(i3c1_smq)), assigned_address);
	slave.info.assigned_dynamic_addr = slave.info.static_addr;
	slave.info.i2c_mode = 0;
	ret = i3c_master_attach_device(master, &slave);
	ast_zassert_equal(ret, 0, "failed to attach slave device onto the bus");

	ret = i3c_master_send_rstdaa(master);
	ret = i3c_master_send_rstdaa(master);
	ast_zassert_equal(ret, 0, "failed to send RSTDAA");

	ret = i3c_master_send_aasa(master);
	ast_zassert_equal(ret, 0, "failed to send SETAASA");

	ret = i3c_master_send_getpid(master, slave.info.dynamic_addr, &slave.info.pid);
	ast_zassert_equal(ret, 0, "failed to send GETPID");
	ast_zassert_equal(I3C_PID_VENDOR_ID(slave.info.pid), I3C_PID_VENDOR_ID_ASPEED,
			  "incorrect vendor ID %llx", slave.info.pid);

	ret = i3c_master_request_ibi(&slave, &i3c_ibi_def_callbacks);
	ast_zassert_equal(ret, 0, "failed to request sir");
	ret = i3c_master_enable_ibi(&slave);
	ast_zassert_equal(ret, 0, "failed to enable sir");

	for (i = 0; i < count; i++) {
		/*
		 * Test part 1:
		 * master --- private write transfer ---> slave
		 */
		prepare_test_data(test_data_tx, TEST_PRIV_XFER_SIZE);

		xfer.rnw = 0;
		xfer.len = TEST_PRIV_XFER_SIZE;
		xfer.data.out = test_data_tx;
		ret = i3c_master_priv_xfer(&slave, &xfer, 1);
		ast_zassert_equal(ret, 0, "failed to do private transfer");

		/*
		 * Test part 2:
		 * if MDB group ID is pending read notification:
		 *    master <--- IBI notification --------- slave
		 *    master ---- private read transfer ---> slave
		 * else:
		 *    master <--- IBI with data --------- slave
		 */

		/* master device waits for the IBI from the slave */
		k_sem_take(&ibi_complete, K_FOREVER);

		/* init the flag for the next loop */
		k_sem_init(&ibi_complete, 0, 1);

		/* check result: first byte (MDB) shall match the DT property mandatory-data-byte */
		ret = DT_PROP(DT_NODELABEL(i3c1_smq), mandatory_data_byte);
		ast_zassert_equal(ret, test_data_rx[0], "IBI MDB mismatch: %02x %02x\n", ret,
				  test_data_rx[0]);

		if (IS_MDB_PENDING_READ_NOTIFY(test_data_rx[0])) {
			/* to ensure the slave filled the pending read data */
			k_sem_take(&data_ready, K_FOREVER);
			k_sem_init(&data_ready, 0, 1);
			/* initiate a private read transfer to read the pending data */
			xfer.rnw = 1;
			xfer.len = TEST_IBI_PAYLOAD_SIZE;
			xfer.data.in = test_data_rx;
			ret = i3c_master_priv_xfer(&slave, &xfer, 1);
			ast_zassert_mem_equal(test_data_tx, test_data_rx, TEST_IBI_PAYLOAD_SIZE,
					      "data mismatch");
		} else {
			ast_zassert_mem_equal(test_data_tx, &test_data_rx[1], TEST_IBI_PAYLOAD_SIZE,
					      "data mismatch");
		}
	}

	ret = i3c_master_detach_device(master, &slave);
	ast_zassert_equal(ret, 0, "failed to detach device");

	k_thread_abort(&test_i3c_slave_thread);
}

int test_i3c(int count, enum aspeed_test_type type)
{
	printk("%s, count: %d, type: %d\n", __func__, count, type);

	if (type == AST_TEST_CI) {
		test_i3c_ci(count);
		return ast_ztest_result();
	}

	/* Not support FT yet */
	return AST_TEST_PASS;
}
```

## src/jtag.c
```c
/*
 * Copyright (c) 2021 Aspeed Technology Inc.
 *
 * SPDX-License-Identifier: Apache-2.0
 */

#include <tc_util.h>
#include "ast_test.h"

int test_jtag(int count, enum aspeed_test_type type)
{
	printk("%s, count: %d, type: %d\n", __func__, count, type);

	return ast_ztest_result();
}
```

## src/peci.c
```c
/*
 * Copyright (c) 2021 Aspeed Technology Inc.
 *
 * SPDX-License-Identifier: Apache-2.0
 */

#include <tc_util.h>
#include "ast_test.h"

int test_peci(int count, enum aspeed_test_type type)
{
	printk("%s, count: %d, type: %d\n", __func__, count, type);

	return ast_ztest_result();
}
```

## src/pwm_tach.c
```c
/*
 * Copyright (c) 2021 Aspeed Technology Inc.
 *
 * SPDX-License-Identifier: Apache-2.0
 */
#include <ztest.h>
#include <tc_util.h>
#include <random/rand32.h>
#include <drivers/sensor.h>
#include <drivers/pwm.h>
#include "ast_test.h"
#define LOG_MODULE_NAME pwm_tach_test

#include <logging/log.h>
LOG_MODULE_REGISTER(LOG_MODULE_NAME);

#if DT_HAS_COMPAT_STATUS_OKAY(aspeed_pwm)
#define DT_DRV_COMPAT aspeed_pwm
#else
#error No known devicetree compatible match for pwm/tach test
#endif

#define NODE_LABELS(n) { .device_label = DT_INST_LABEL(n), .npwms = DT_INST_PROP(n, npwms) },
#define INIT_MACRO() DT_INST_FOREACH_STATUS_OKAY(NODE_LABELS)

static struct pwm_hdl {
	char *device_label;
	int npwms;
} pwm_list[] = {
	INIT_MACRO()
};

#undef DT_DRV_COMPAT
#if DT_HAS_COMPAT_STATUS_OKAY(aspeed_tach)
#define DT_DRV_COMPAT aspeed_tach
#else
#error No known devicetree compatible match for pwm/tach test
#endif

#define FAN_LABELS(node_id) { .device_label = DT_LABEL(node_id) },

#define FAN_NODE_LABELS(n) DT_FOREACH_CHILD(DT_DRV_INST(n), FAN_LABELS)

#define FAN_INIT_MACRO() DT_INST_FOREACH_STATUS_OKAY(FAN_NODE_LABELS)
static struct fan_hdl {
	char *device_label;
} fan_list[] = {
	FAN_INIT_MACRO()
};

void test_pwm_tach_enable(void)
{
	printk("Do nothing\n");
}

#if CONFIG_PWM_ASPEED_ACCURATE_FREQ
void test_pwm_tach_loopback_accurate(void)
{
	int i, hw_pwm;
	const struct device *pwm_dev, *tach_dev;
	uint64_t cycles_per_sec, cycles_per_min;
	uint32_t expected_rpm, rand_cycles, div_l, div_h;
	struct sensor_value sensor_value;
	int err;

	for (i = 0; i < ARRAY_SIZE(pwm_list); i++) {
		pwm_dev = device_get_binding(pwm_list[i].device_label);
		for (hw_pwm = 0; hw_pwm < pwm_list[i].npwms - 1; hw_pwm++) {
			pwm_get_cycles_per_sec(pwm_dev, hw_pwm, &cycles_per_sec);
			cycles_per_min = cycles_per_sec * 60;
			tach_dev = device_get_binding(fan_list[hw_pwm].device_label);

			div_l = sys_rand32_get() % 256;
			div_h = sys_rand32_get() % 4;
			rand_cycles = BIT(div_h) * (div_l + 1);
			if (rand_cycles < 2) {
				rand_cycles = 2;
			}
			pwm_pin_set_cycles(pwm_dev, hw_pwm, rand_cycles, rand_cycles / 2, 0);
			/* Needs one cylce time for period transtion */
			k_usleep(rand_cycles * USEC_PER_SEC / cycles_per_sec);
			expected_rpm = cycles_per_min / rand_cycles;
			err = sensor_sample_fetch(tach_dev);
			ast_zassert_ok(err, "Failed to read sensor %s\n",
				       fan_list[hw_pwm].device_label);
			sensor_channel_get(tach_dev, SENSOR_CHAN_RPM, &sensor_value);
			LOG_DBG("%d value = %10.6f expected = %d rand_cycles = %d", hw_pwm,
				sensor_value_to_double(&sensor_value), expected_rpm, rand_cycles);
			ast_zassert_equal(sensor_value.val1, expected_rpm, "PWM%d(%d == %d)",
					  hw_pwm, sensor_value.val1, expected_rpm);
		}
	}
}
#else
void test_pwm_tach_loopback_rough(void)
{
	int i, hw_pwm;
	const struct device *pwm_dev, *tach_dev;
	uint64_t cycles_per_sec, cycles_per_min;
	uint32_t expected_rpm, rand_cycles;
	struct sensor_value sensor_value;
	int err;

	for (i = 0; i < ARRAY_SIZE(pwm_list); i++) {
		pwm_dev = device_get_binding(pwm_list[i].device_label);
		for (hw_pwm = 0; hw_pwm < pwm_list[i].npwms - 1; hw_pwm++) {
			pwm_get_cycles_per_sec(pwm_dev, hw_pwm, &cycles_per_sec);
			cycles_per_min = cycles_per_sec * 60;
			tach_dev = device_get_binding(fan_list[hw_pwm].device_label);

			rand_cycles = (sys_rand32_get() % 2000) + 2;
			pwm_pin_set_cycles(pwm_dev, hw_pwm, rand_cycles, rand_cycles / 2, 0);
			/* Needs one cylce time for period transtion */
			k_usleep(rand_cycles * USEC_PER_SEC / cycles_per_sec);
			expected_rpm = cycles_per_min / rand_cycles;
			err = sensor_sample_fetch(tach_dev);
			ast_zassert_ok(err, "Failed to read sensor %s\n",
				       fan_list[hw_pwm].device_label);
			sensor_channel_get(tach_dev, SENSOR_CHAN_RPM, &sensor_value);
			LOG_DBG("%d value = %10.6f expected = %d rand_cycles = %d", hw_pwm,
				sensor_value_to_double(&sensor_value), expected_rpm, rand_cycles);
			ast_zassert_true(sensor_value.val1 >= expected_rpm, "PWM%d(%d < %d)",
					 hw_pwm, sensor_value.val1, expected_rpm);
		}
	}
}
#endif

#define AFB0812SH_FAN_ERROR 450
static const uint32_t AFB0812SH_FAN_RPM[5] = {
	4500,   /* 100% */
	3400,   /* 75% */
	2250,   /* 50% */
	1100,   /* 25% */
	700,    /* 0~17% */
};

static const uint32_t AFB0812SH_FAN_DUTY[5] = {
	100, 75, 50, 25, 0,
};

void test_pwm_tach_fan(void)
{
	int i, j, hw_pwm;
	const struct device *pwm_dev, *tach_dev;
	uint32_t period_ns = 40000;
	struct sensor_value sensor_value;
	int err;

	for (i = 0; i < ARRAY_SIZE(pwm_list); i++) {
		pwm_dev = device_get_binding(pwm_list[i].device_label);
		hw_pwm = pwm_list[i].npwms - 1;
		tach_dev = device_get_binding(fan_list[hw_pwm].device_label);
		for (j = 0; j < ARRAY_SIZE(AFB0812SH_FAN_RPM); j += 1) {
			pwm_pin_set_nsec(pwm_dev, hw_pwm, period_ns,
					 period_ns / 100 * AFB0812SH_FAN_DUTY[j], 0);
			/* Wait Fan stable */
			k_msleep(3000);
			err = sensor_sample_fetch(tach_dev);
			ast_zassert_ok(err, "Failed to read sensor %s\n",
				       fan_list[hw_pwm].device_label);
			sensor_channel_get(tach_dev, SENSOR_CHAN_RPM, &sensor_value);
			LOG_DBG("duty: %d%% rpm = %d", AFB0812SH_FAN_DUTY[j], sensor_value.val1);
			ast_zassert_within(sensor_value.val1, AFB0812SH_FAN_RPM[j],
					   AFB0812SH_FAN_ERROR, "%d != %d+-%d", sensor_value.val1,
					   AFB0812SH_FAN_RPM[j], AFB0812SH_FAN_ERROR);
		}
	}
}

int test_pwm(int count, enum aspeed_test_type type)
{
	int times;

	printk("%s, count: %d, type: %d\n", __func__, count, type);
	if (type != AST_TEST_CI)
		return AST_TEST_PASS;

	for (times = 0; times < count; times++) {
#if CONFIG_PWM_ASPEED_ACCURATE_FREQ
		test_pwm_tach_loopback_accurate();
#else
		test_pwm_tach_loopback_rough();
#endif
	}
	test_pwm_tach_fan();

	return ast_ztest_result();
}
```
